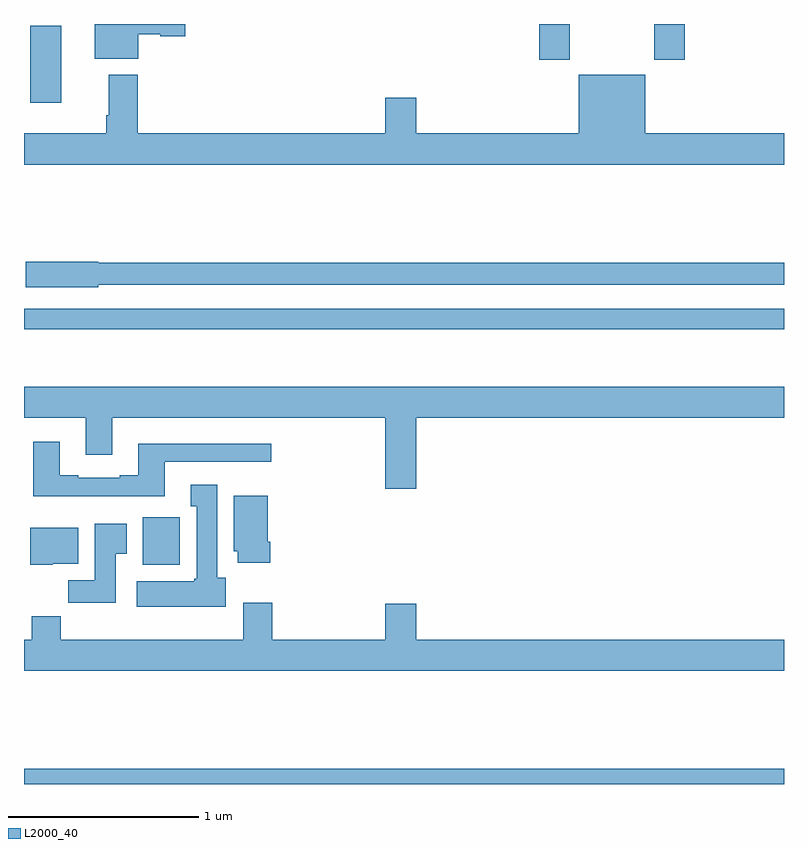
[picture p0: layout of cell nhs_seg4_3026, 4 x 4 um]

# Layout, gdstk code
import gdstk
lib = gdstk.Library(unit=1e-6, precision=1e-09)
def R(c, l, rs):  # rectangles x0, y0, x1, y1
    for r in rs: c.add(gdstk.rectangle(r[:2], r[2:], *l))
def P(c, l, *ps):  # polygons
    for p in ps: c.add(gdstk.Polygon(p, *l))
L2000_40 = (2000, 40)

nhs_seg4_3026 = lib.new_cell('nhs_seg4_3026')
R(nhs_seg4_3026, L2000_40, [(271,786.9,275,786.98), (271.625,788.054,271.821,788.305), (271,789.294,275,789.402), (271.034,790.485,271.195,790.891), (273.713,790.713,273.873,790.9), (274.318,790.713,274.478,790.9)])
P(nhs_seg4_3026, L2000_40, [(271.6,790.847),(271.716,790.847),(271.716,790.835),(271.849,790.835),(271.849,790.9),(271.373,790.9),(271.373,790.718),(271.6,790.718)],
  [(275,790.324),(274.27,790.324),(274.27,790.633),(273.92,790.633),(273.92,790.324),(273.064,790.324),(273.064,790.513),(272.9,790.513),(272.9,790.324),(271.598,790.324),(271.598,790.633),(271.445,790.633),(271.445,790.42),(271.433,790.42),(271.433,790.324),(271,790.324),(271,790.16),(275,790.16)],
  [(271.392,789.528),(275,789.528),(275,789.644),(271.392,789.644),(271.392,789.65),(271.008,789.65),(271.008,789.515),(271.392,789.515)],
  [(273.064,788.828),(275,788.828),(275,788.992),(271,788.992),(271,788.828),(271.325,788.828),(271.325,788.634),(271.465,788.634),(271.465,788.828),(272.9,788.828),(272.9,788.454),(273.064,788.454)],
  [(271.741,788.595),(272.302,788.595),(272.302,788.692),(271.601,788.692),(271.601,788.524),(271.505,788.524),(271.505,788.511),(271.285,788.511),(271.285,788.524),(271.189,788.524),(271.189,788.701),(271.049,788.701),(271.049,788.414),(271.741,788.414)],
  [(272.062,787.986),(272.017,787.986),(272.017,788.476),(271.877,788.476),(271.877,788.363),(271.91,788.363),(271.91,787.98),(271.897,787.98),(271.897,787.966),(271.593,787.966),(271.593,787.832),(272.062,787.832)],
  [(272.297,788.176),(272.284,788.176),(272.284,788.416),(272.105,788.416),(272.105,788.124),(272.126,788.124),(272.126,788.064),(272.297,788.064)],
  [(271.483,788.113),(271.54,788.113),(271.54,788.269),(271.373,788.269),(271.373,787.972),(271.234,787.972),(271.234,787.854),(271.483,787.854)],
  [(271.152,788.06),(271.285,788.06),(271.285,788.248),(271.034,788.248),(271.034,788.054),(271.152,788.054)],
  [(275,787.66),(273.064,787.66),(273.064,787.849),(272.9,787.849),(272.9,787.66),(272.306,787.66),(272.306,787.855),(272.153,787.855),(272.153,787.66),(271.193,787.66),(271.193,787.784),(271.042,787.784),(271.042,787.66),(271,787.66),(271,787.496),(275,787.496)])

lib.write_gds('nhs_seg4_3026.gds')
